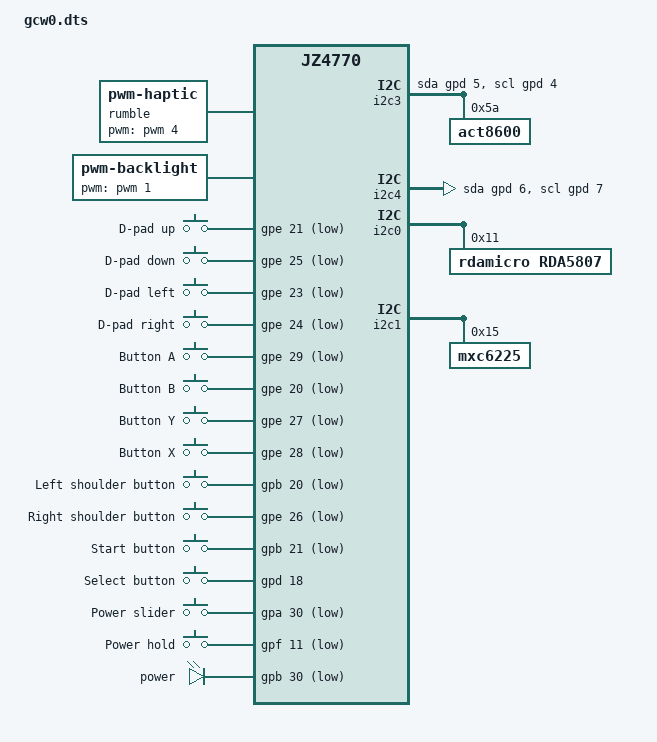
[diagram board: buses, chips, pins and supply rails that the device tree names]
/dts-v1/;

#include "jz4770.dtsi"

#include <dt-bindings/input/input.h>
#include <dt-bindings/gpio/gpio.h>
#include <dt-bindings/pwm/pwm.h>

/ {
	compatible = "gcw,zero", "ingenic,jz4770";

	board {
		#address-cells = <1>;
		#size-cells = <1>;
		compatible = "simple-bus";
		ranges = <>;

		rumble {
			compatible = "pwm-haptic";
			pwms = <&pwm 4 2000000 0>;

			pinctrl-names = "default";
			pinctrl-0 = <&pinfunc_pwm4_data>;
		};

		backlight {
			compatible = "pwm-backlight";
			pwms = <&pwm 1 40000 PWM_POLARITY_INVERTED>;

			brightness-levels = <0 16 32 48 64 80 96 112 128 144 160 176 192 208 224 240 255>;
			default-brightness-level = <128>;

			pinctrl-names = "default";
			pinctrl-0 = <&pinfunc_pwm1_data>;
		};

		gpio-keys {
			compatible = "gpio-keys";
			#address-cells = <1>;
			#size-cells = <0>;

			autorepeat;

			button@0 {
				label = "D-pad up";
				linux,code = <KEY_UP>;
				gpios = <&gpe 21 GPIO_ACTIVE_LOW>;
				debounce-interval = <10>;
			};

			button@1 {
				label = "D-pad down";
				linux,code = <KEY_DOWN>;
				gpios = <&gpe 25 GPIO_ACTIVE_LOW>;
				debounce-interval = <10>;
			};

			button@2 {
				label = "D-pad left";
				linux,code = <KEY_LEFT>;
				gpios = <&gpe 23 GPIO_ACTIVE_LOW>;
				debounce-interval = <10>;
			};

			button@3 {
				label = "D-pad right";
				linux,code = <KEY_RIGHT>;
				gpios = <&gpe 24 GPIO_ACTIVE_LOW>;
				debounce-interval = <10>;
			};

			button@4 {
				label = "Button A";
				linux,code = <KEY_LEFTCTRL>;
				gpios = <&gpe 29 GPIO_ACTIVE_LOW>;
				debounce-interval = <10>;
			};

			button@5 {
				label = "Button B";
				linux,code = <KEY_LEFTALT>;
				gpios = <&gpe 20 GPIO_ACTIVE_LOW>;
				debounce-interval = <10>;
			};

			button@6 {
				label = "Button Y";
				linux,code = <KEY_SPACE>;
				gpios = <&gpe 27 GPIO_ACTIVE_LOW>;
				debounce-interval = <10>;
			};

			button@7 {
				label = "Button X";
				linux,code = <KEY_LEFTSHIFT>;
				gpios = <&gpe 28 GPIO_ACTIVE_LOW>;
				debounce-interval = <10>;
			};

			button@8 {
				label = "Left shoulder button";
				linux,code = <KEY_TAB>;
				gpios = <&gpb 20 GPIO_ACTIVE_LOW>;
				debounce-interval = <10>;
			};

			button@9 {
				label = "Right shoulder button";
				linux,code = <KEY_BACKSPACE>;
				gpios = <&gpe 26 GPIO_ACTIVE_LOW>;
				debounce-interval = <10>;
			};

			button@10 {
				label = "Start button";
				linux,code = <KEY_ENTER>;
				gpios = <&gpb 21 GPIO_ACTIVE_LOW>;
				debounce-interval = <10>;
			};

			button@11 {
				label = "Select button";
				linux,code = <KEY_ESC>;
				/* This is the only button that is active high,
				 * since it doubles as BOOT_SEL1.
				 */
				gpios = <&gpd 18 GPIO_ACTIVE_HIGH>;
				debounce-interval = <10>;
			};

			button@12 {
				label = "Power slider";
				linux,code = <KEY_POWER>;
				gpios = <&gpa 30 GPIO_ACTIVE_LOW>;
				debounce-interval = <10>;
				gpio-key,wakeup;
			};

			button@13 {
				label = "Power hold";
				linux,code = <KEY_PAUSE>;
				gpios = <&gpf 11 GPIO_ACTIVE_LOW>;
				debounce-interval = <10>;
			};
		};

		i2c3: i2c-act8600 {
			compatible = "i2c-gpio";
			gpios = <&gpd 5 GPIO_ACTIVE_HIGH	/* sda */
				 &gpd 4 GPIO_ACTIVE_HIGH	/* scl */
				>;
			#address-cells = <1>;
			#size-cells = <0>;
		};

		i2c4: i2c-it6610 {
			compatible = "i2c-gpio";
			gpios = <&gpd 6 GPIO_ACTIVE_HIGH	/* sda */
				 &gpd 7 GPIO_ACTIVE_HIGH	/* scl */
				>;
			#address-cells = <1>;
			#size-cells = <0>;
		};

		leds {
			compatible = "gpio-leds";

			power {
				gpios = <&gpb 30 GPIO_ACTIVE_LOW>;
				default-state = "on";
			};
		};
	};
};

&i2c0 {
	status = "okay";
	i2c-gpio,delay-us = <2>;		/* 250 kHz */

	rda5807@11 {				/* FM radio receiver */
		compatible = "rdamicro,rda5807";
		reg = <0x11>;
		lnap;
		lna-current = <2500>;
		analog-out;
	};
};

&i2c1 {
	status = "okay";
	i2c-gpio,delay-us = <2>;		/* 250 kHz */

	mxc6225@15 {				/* g-sensor */
		compatible = "mxc6225";
		reg = <0x15>;
	};
};

&i2c3 {
	i2c-gpio,delay-us = <2>;		/* 250 kHz */

	act8600@5a {				/* power management unit */
		compatible = "act8600";
		reg = <0x5a>;
	};
};

&i2c4 {
	i2c-gpio,delay-us = <5>;		/* 100 kHz */

	/* the IT6610 is on this bus, but we don't have a driver for it yet */
};
